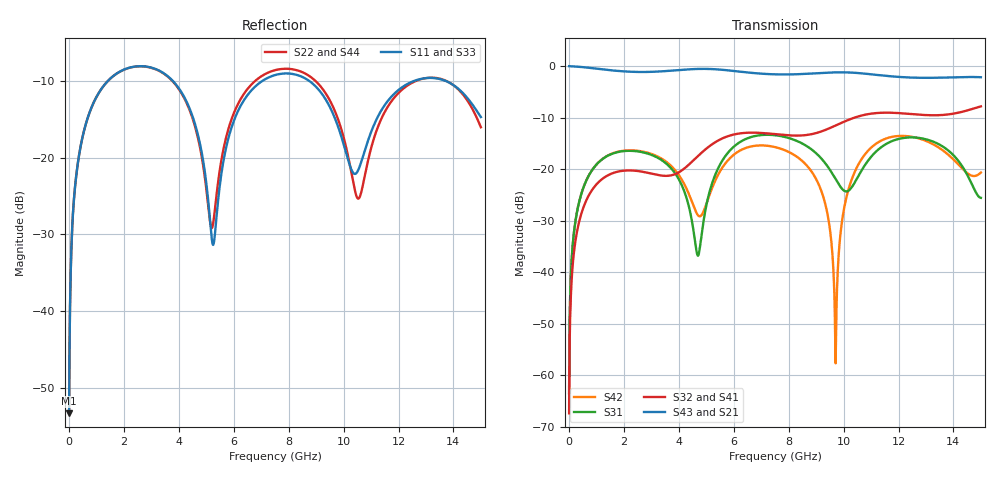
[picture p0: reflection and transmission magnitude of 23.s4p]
! Created with skrf 1.8.0 (http://scikit-rf.org).
# GHz S RI R 50.0
!freq ReS11 ImS11 ReS12 ImS12 ReS13 ImS13
! ReS14 ImS14
! ReS21 ImS21 ReS22 ImS22 ReS23 ImS23
! ReS24 ImS24
! ReS31 ImS31 ReS32 ImS32 ReS33 ImS33
! ReS34 ImS34
! ReS41 ImS41 ReS42 ImS42 ReS43 ImS43
! ReS44 ImS44
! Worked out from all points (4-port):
!   2499 points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, 5 MHz to 15 GHz, reference 50 ohm
!   strongest paths, dB at 5 MHz, 3.476 GHz, 7.19 GHz, 11.1 GHz, 15 GHz:
!     S43: 0.0, -1.0, -1.5, -1.6, -2.2
!     S21: 0.0, -1.0, -1.5, -1.6, -2.1
!     S32: -67.4, -21.3, -13.0, -9.2, -7.8
!     S41: -67.4, -21.3, -13.1, -9.2, -7.8
!     S31: -63.4, -18.6, -13.3, -17.0, -25.6
!     S42: -63.4, -18.3, -15.4, -15.4, -20.7
!   lowest |S11| = -53.3 dB at 5 MHz (marker M1), VSWR 1.00, Z = 50.2 + j0.131 ohm
!   |S11| at or under -10 dB: start of sweep to 1.411 GHz; 3.787 GHz to 7.034 GHz (3.247 GHz wide, 60 % of centre); 8.756 GHz to 12.55 GHz (3.798 GHz wide, 35.6 % of centre) (the widest 3 of 4)
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0.005  0.00172 0.00131  0.9982 -0.00334  8.6e-05 0.000667  -8.36e-05 -0.000421
       0.9982 -0.00334  0.00172 0.00131  -8.36e-05 -0.000421  8.61e-05 0.000667
       8.6e-05 0.000667  -8.36e-05 -0.000421  0.00172 0.00131  0.9982 -0.00334
       -8.36e-05 -0.000421  8.61e-05 0.000667  0.9982 -0.00334  0.00172 0.00131
1.569404  0.2893 0.1714  0.5089 -0.7524  0.1297 0.0556  -0.091 0.000169
          0.5089 -0.7524  0.2886 0.1718  -0.091 0.000249  0.1318 0.0523
          0.1297 0.0556  -0.091 0.000249  0.2893 0.1714  0.5089 -0.7524
          -0.091 0.000169  0.1318 0.0523  0.5089 -0.7524  0.2887 0.1718
5.058358  0.0299 -0.0464  -0.9255 -0.1567  0.0225 0.047  -0.025 0.1608
          -0.9255 -0.1567  0.0365 -0.0352  -0.024 0.161  -0.0347 0.037
          0.0225 0.047  -0.024 0.161  0.0291 -0.047  -0.9255 -0.1568
          -0.025 0.1608  -0.0347 0.037  -0.9255 -0.1568  0.0373 -0.0355
8.047103  0.3534 -0.0136  -0.0195 0.8297  0.1505 -0.1302  0.2031 -0.0587
          -0.0195 0.8297  0.3769 -0.0435  0.2035 -0.0614  0.1413 -0.0321
          0.1505 -0.1302  0.2035 -0.0614  0.3518 -0.0106  -0.0191 0.8301
          0.2031 -0.0587  0.1413 -0.0321  -0.0191 0.8301  0.3762 -0.0464
9.710296  0.1341 -0.1143  0.7023 0.512  -0.0554 -0.058  0.1511 -0.2181
          0.7023 0.512  0.1232 -0.1527  0.1475 -0.2205  0.00121 0.000504
          -0.0554 -0.058  0.1475 -0.2205  0.1346 -0.1099  0.7036 0.511
          0.1511 -0.2181  0.00121 0.000504  0.7036 0.511  0.1191 -0.1519
10.99833  0.1182 0.0867  0.8212 -0.1436  0.0567 0.1186  -0.0844 -0.3351
          0.8212 -0.1436  0.088 0.0738  -0.0889 -0.3339  0.0981 0.128
          0.0567 0.1186  -0.0889 -0.3339  0.1205 0.0912  0.82 -0.146
          -0.0844 -0.3351  0.0981 0.128  0.82 -0.146  0.0888 0.0797
15  0.1656 -0.0808  -0.6112 -0.487  -0.0528 0.000978  -0.2562 0.3168
    -0.6112 -0.487  0.1335 -0.0847  -0.2486 0.3219  -0.0926 0.00544
    -0.0528 0.000978  -0.2486 0.3219  0.176 -0.0829  -0.6094 -0.4865
    -0.2562 0.3168  -0.0926 0.00544  -0.6094 -0.4865  0.1329 -0.0938
